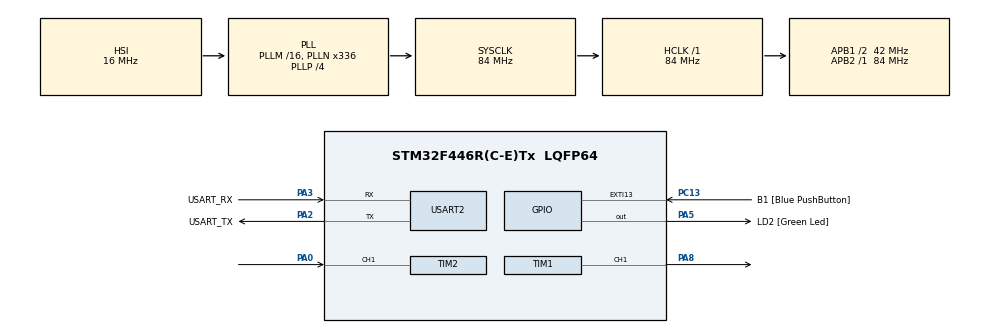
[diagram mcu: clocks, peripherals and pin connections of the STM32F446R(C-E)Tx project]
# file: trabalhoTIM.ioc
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Mcu.Family=STM32F4
Mcu.Name=STM32F446R(C-E)Tx
Mcu.Package=LQFP64
NVIC.PriorityGroup=NVIC_PRIORITYGROUP_0
NVIC.TIM2_IRQn=true\:0\:0\:false\:false\:true\:true\:true\:true
NVIC.USART2_IRQn=true\:0\:0\:false\:false\:true\:true\:true\:true
PA0-WKUP.Signal=S_TIM2_CH1_ETR
PA13.GPIO_Label=TMS
PA13.Mode=Serial_Wire
PA13.Signal=SYS_JTMS-SWDIO
PA14.GPIO_Label=TCK
PA14.Mode=Serial_Wire
PA14.Signal=SYS_JTCK-SWCLK
PA2.GPIO_Label=USART_TX
PA2.Mode=Asynchronous
PA2.Signal=USART2_TX
PA3.GPIO_Label=USART_RX
PA3.Mode=Asynchronous
PA3.Signal=USART2_RX
PA5.GPIO_Label=LD2 [Green Led]
PA5.Signal=GPIO_Output
PA8.Signal=S_TIM1_CH1
PB3.GPIO_Label=SWO
PB3.Signal=SYS_JTDO-SWO
PC13.GPIO_Label=B1 [Blue PushButton]
PC13.GPIO_ModeDefaultEXTI=GPIO_MODE_IT_FALLING
PC13.GPIO_PuPd=GPIO_PULLUP
PC13.Signal=GPXTI13
PC14-OSC32_IN.Mode=LSE-External-Oscillator
PC14-OSC32_IN.Signal=RCC_OSC32_IN
PC15-OSC32_OUT.Mode=LSE-External-Oscillator
PC15-OSC32_OUT.Signal=RCC_OSC32_OUT
PH0-OSC_IN.Mode=HSE-External-Oscillator
PH0-OSC_IN.Signal=RCC_OSC_IN
PH1-OSC_OUT.Mode=HSE-External-Oscillator
PH1-OSC_OUT.Signal=RCC_OSC_OUT
ProjectManager.HeapSize=0x200
ProjectManager.StackSize=0x400
ProjectManager.TargetToolchain=STM32CubeIDE
RCC.48MHZClocksFreq_Value=84000000
RCC.AHBFreq_Value=84000000
RCC.APB1CLKDivider=RCC_HCLK_DIV2
RCC.APB1Freq_Value=42000000
RCC.APB1TimFreq_Value=84000000
RCC.APB2Freq_Value=84000000
RCC.APB2TimFreq_Value=84000000
RCC.CortexFreq_Value=84000000
RCC.FLatency-AdvancedSettings=FLASH_LATENCY_2
RCC.HCLKFreq_Value=84000000
RCC.HSE_VALUE=8000000
RCC.HSI_VALUE=16000000
RCC.PLLN=336
RCC.PLLP=RCC_PLLP_DIV4
RCC.SYSCLKFreq_VALUE=84000000
RCC.SYSCLKSource=RCC_SYSCLKSOURCE_PLLCLK
RCC.USBFreq_Value=168000000
RCC.VCOOutputFreq_Value=336000000
SH.S_TIM1_CH1.0=TIM1_CH1,PWM Generation1 CH1
SH.S_TIM2_CH1_ETR.0=TIM2_CH1,Input_Capture1_from_TI1
TIM1.Channel-PWM\ Generation1\ CH1=TIM_CHANNEL_1
TIM1.OCMode_PWM-PWM\ Generation1\ CH1=TIM_OCMODE_PWM2
TIM1.Period=100-1
TIM1.Prescaler=84-1
TIM1.Pulse-PWM\ Generation1\ CH1=10
TIM2.Channel-Input_Capture1_from_TI1=TIM_CHANNEL_1
TIM2.ICPolarity_CH1=TIM_INPUTCHANNELPOLARITY_BOTHEDGE
TIM2.Prescaler=84-1
USART2.VirtualMode=VM_ASYNC
VP_TIM1_VS_OPM.Mode=OPM_bit
VP_TIM2_VS_ClockSourceINT.Mode=Internal
board=NUCLEO-F446RE

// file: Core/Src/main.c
/* USER CODE BEGIN Header */
/**
 ******************************************************************************
 * @file           : main.c
 * @brief          : Main program body
 ******************************************************************************
 * @attention
 *
 * Copyright (c) 2025 STMicroelectronics.
 * All rights reserved.
 *
 * This software is licensed under terms that can be found in the LICENSE file
 * in the root directory of this software component.
 * If no LICENSE file comes with this software, it is provided AS-IS.
 *
 ******************************************************************************
 */
/* USER CODE END Header */
#include "main.h"
#include "tim.h"
#include "usart.h"
#include "gpio.h"

/* USER CODE BEGIN Includes */
#include <stdio.h>
#include <string.h>
/* USER CODE END Includes */

/* USER CODE BEGIN PV */
int btnPressed = 0;

int isCaptured = 0;

uint16_t IC1;
uint16_t IC2;

uint16_t rawValue = 0;

float period = 0;
float frequency = 0;
float distance = 0;

char message[50];
/* USER CODE END PV */

void SystemClock_Config(void);

int main(void)
{

	/* MCU Configuration--------------------------------------------------------*/

	/* Reset of all peripherals, Initializes the Flash interface and the Systick. */
	HAL_Init();

	/* Configure the system clock */
	SystemClock_Config();

	/* Initialize all configured peripherals */
	MX_GPIO_Init();
	MX_USART2_UART_Init();
	MX_TIM2_Init();
	MX_TIM1_Init();
	/* USER CODE BEGIN 2 */
	HAL_TIM_IC_Start_IT(&htim2, TIM_CHANNEL_1);
	HAL_UART_Transmit_IT(&huart2, "Initializing...\r\n", 15);
	/* USER CODE END 2 */

	/* Infinite loop */
	/* USER CODE BEGIN WHILE */
	while (1)
	{
		if((HAL_GPIO_ReadPin(B1_GPIO_Port, B1_Pin) == GPIO_PIN_RESET && btnPressed == 0) || isCaptured != 0)
		{
			btnPressed = 1;
			HAL_TIM_PWM_Stop(&htim1, TIM_CHANNEL_1);
			__HAL_TIM_SET_COUNTER(&htim1, 0);
			HAL_TIM_PWM_Start(&htim1, TIM_CHANNEL_1);
		}
		else if(HAL_GPIO_ReadPin(B1_GPIO_Port, B1_Pin) == GPIO_PIN_SET)
		{
			btnPressed = 0;
		}
		/* USER CODE END WHILE */

	}
}

void SystemClock_Config(void)
{
	RCC_OscInitTypeDef RCC_OscInitStruct = {0};
	RCC_ClkInitTypeDef RCC_ClkInitStruct = {0};

	/** Configure the main internal regulator output voltage
	 */
	__HAL_RCC_PWR_CLK_ENABLE();
	__HAL_PWR_VOLTAGESCALING_CONFIG(PWR_REGULATOR_VOLTAGE_SCALE3);

	/** Initializes the RCC Oscillators according to the specified parameters
	 * in the RCC_OscInitTypeDef structure.
	 */
	RCC_OscInitStruct.OscillatorType = RCC_OSCILLATORTYPE_HSI;
	RCC_OscInitStruct.HSIState = RCC_HSI_ON;
	RCC_OscInitStruct.HSICalibrationValue = RCC_HSICALIBRATION_DEFAULT;
	RCC_OscInitStruct.PLL.PLLState = RCC_PLL_ON;
	RCC_OscInitStruct.PLL.PLLSource = RCC_PLLSOURCE_HSI;
	RCC_OscInitStruct.PLL.PLLM = 16;
	RCC_OscInitStruct.PLL.PLLN = 336;
	RCC_OscInitStruct.PLL.PLLP = RCC_PLLP_DIV4;
	RCC_OscInitStruct.PLL.PLLQ = 2;
	RCC_OscInitStruct.PLL.PLLR = 2;
	if (HAL_RCC_OscConfig(&RCC_OscInitStruct) != HAL_OK)
	{
		Error_Handler();
	}

	/** Initializes the CPU, AHB and APB buses clocks
	 */
	RCC_ClkInitStruct.ClockType = RCC_CLOCKTYPE_HCLK|RCC_CLOCKTYPE_SYSCLK
			|RCC_CLOCKTYPE_PCLK1|RCC_CLOCKTYPE_PCLK2;
	RCC_ClkInitStruct.SYSCLKSource = RCC_SYSCLKSOURCE_PLLCLK;
	RCC_ClkInitStruct.AHBCLKDivider = RCC_SYSCLK_DIV1;
	RCC_ClkInitStruct.APB1CLKDivider = RCC_HCLK_DIV2;
	RCC_ClkInitStruct.APB2CLKDivider = RCC_HCLK_DIV1;

	if (HAL_RCC_ClockConfig(&RCC_ClkInitStruct, FLASH_LATENCY_2) != HAL_OK)
	{
		Error_Handler();
	}
}

/* USER CODE BEGIN 4 */
float distanceFilter(float rawDistance, int modifier)
{
	float filteredDistance;

	for(int i=0 ; i<modifier ; i++)
	{
		filteredDistance += rawDistance;
	}

	filteredDistance = filteredDistance / modifier;
	return filteredDistance;
}

void HAL_TIM_IC_CaptureCallback(TIM_HandleTypeDef *htim)
{
	if(htim->Instance == TIM2)
	{
		if(htim->Channel == HAL_TIM_ACTIVE_CHANNEL_1)
		{
			if(isCaptured == 0)
			{
				IC1 = HAL_TIM_ReadCapturedValue(&htim2, TIM_CHANNEL_1);
				isCaptured = 1;
			}
			else if(isCaptured == 1)
			{
				IC2 = HAL_TIM_ReadCapturedValue(&htim2, TIM_CHANNEL_1);

				rawValue = IC2 - IC1;

				period = (float)rawValue * (84.0f/84000000.0f) * 1000;
				distance = distanceFilter(((period/1000 * 1000000)/2) * 0.034, 2500);

				IC1 = 0;
				IC2 = 0;

				isCaptured = 0;
			}
		}
		snprintf(message, 50, "Distance: %.2f\r\n", distance);
		HAL_UART_Transmit_IT(&huart2, message, strlen(message));
	}
}
/* USER CODE END 4 */

void Error_Handler(void)
{
	__disable_irq();
	while (1)
	{
	}
}
